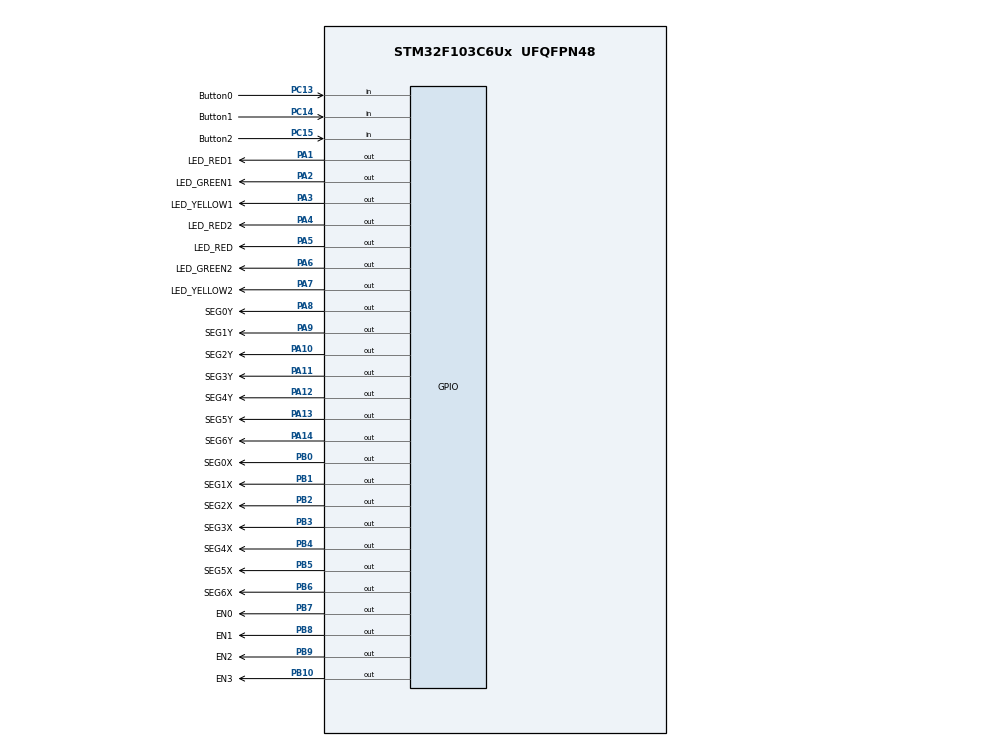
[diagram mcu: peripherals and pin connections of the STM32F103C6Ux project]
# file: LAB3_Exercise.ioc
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Mcu.Family=STM32F1
Mcu.Name=STM32F103C6Ux
Mcu.Package=UFQFPN48
NVIC.PriorityGroup=NVIC_PRIORITYGROUP_4
NVIC.TIM2_IRQn=true\:0\:0\:false\:false\:true\:true\:true
PA1.GPIO_Label=LED_RED1
PA1.Signal=GPIO_Output
PA10.GPIO_Label=SEG2Y
PA10.Signal=GPIO_Output
PA11.GPIO_Label=SEG3Y
PA11.Signal=GPIO_Output
PA12.GPIO_Label=SEG4Y
PA12.Signal=GPIO_Output
PA13.GPIO_Label=SEG5Y
PA13.Signal=GPIO_Output
PA14.GPIO_Label=SEG6Y
PA14.Signal=GPIO_Output
PA2.GPIO_Label=LED_GREEN1
PA2.Signal=GPIO_Output
PA3.GPIO_Label=LED_YELLOW1
PA3.Signal=GPIO_Output
PA4.GPIO_Label=LED_RED2
PA4.Signal=GPIO_Output
PA5.GPIO_Label=LED_RED
PA5.Signal=GPIO_Output
PA6.GPIO_Label=LED_GREEN2
PA6.Signal=GPIO_Output
PA7.GPIO_Label=LED_YELLOW2
PA7.Signal=GPIO_Output
PA8.GPIO_Label=SEG0Y
PA8.Signal=GPIO_Output
PA9.GPIO_Label=SEG1Y
PA9.Signal=GPIO_Output
PB0.GPIO_Label=SEG0X
PB0.Signal=GPIO_Output
PB1.GPIO_Label=SEG1X
PB1.Signal=GPIO_Output
PB10.GPIO_Label=EN3
PB10.Signal=GPIO_Output
PB2.GPIO_Label=SEG2X
PB2.Signal=GPIO_Output
PB3.GPIO_Label=SEG3X
PB3.Signal=GPIO_Output
PB4.GPIO_Label=SEG4X
PB4.Signal=GPIO_Output
PB5.GPIO_Label=SEG5X
PB5.Signal=GPIO_Output
PB6.GPIO_Label=SEG6X
PB6.Signal=GPIO_Output
PB7.GPIO_Label=EN0
PB7.Signal=GPIO_Output
PB8.GPIO_Label=EN1
PB8.Signal=GPIO_Output
PB9.GPIO_Label=EN2
PB9.Signal=GPIO_Output
PC13-TAMPER-RTC.GPIO_Label=Button0
PC13-TAMPER-RTC.GPIO_PuPd=GPIO_PULLUP
PC13-TAMPER-RTC.Signal=GPIO_Input
PC14-OSC32_IN.GPIO_Label=Button1
PC14-OSC32_IN.GPIO_PuPd=GPIO_PULLUP
PC14-OSC32_IN.Signal=GPIO_Input
PC15-OSC32_OUT.GPIO_Label=Button2
PC15-OSC32_OUT.GPIO_PuPd=GPIO_PULLUP
PC15-OSC32_OUT.Signal=GPIO_Input
ProjectManager.HeapSize=0x200
ProjectManager.StackSize=0x400
ProjectManager.TargetToolchain=STM32CubeIDE
RCC.APB1Freq_Value=8000000
RCC.APB2Freq_Value=8000000
TIM2.Period=9
TIM2.Prescaler=7999
VP_SYS_VS_ND.Mode=No_Debug
VP_TIM2_VS_ClockSourceINT.Mode=Internal
board=custom

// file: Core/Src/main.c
/* USER CODE BEGIN Header */
/**
  ******************************************************************************
  * @file           : main.c
  * @brief          : Main program body
  ******************************************************************************
  * @attention
  *
  * <h2><center>&copy; Copyright (c) 2024 STMicroelectronics.
  * All rights reserved.</center></h2>
  *
  * This software component is licensed by ST under BSD 3-Clause license,
  * the "License"; You may not use this file except in compliance with the
  * License. You may obtain a copy of the License at:
  *                        opensource.org/licenses/BSD-3-Clause
  *
  ******************************************************************************
  */
/* USER CODE END Header */
#include "main.h"

/* USER CODE BEGIN Includes */
#include "software_timer.h"
#include "button.h"
#include "fsm_automatic.h"
#include "fsm_manual.h"
#include "fsm_setting.h"
/* USER CODE END Includes */

TIM_HandleTypeDef htim2;

void SystemClock_Config(void);
static void MX_GPIO_Init(void);
static void MX_TIM2_Init(void);

/* USER CODE BEGIN 0 */
void ledPA5(){
    if(HAL_GPIO_ReadPin(Button1_GPIO_Port,Button1_Pin)== GPIO_PIN_RESET){
    	HAL_GPIO_TogglePin(LED_RED_GPIO_Port, LED_RED_Pin);
    }
}
/* USER CODE END 0 */

int main(void)
{

  /* MCU Configuration--------------------------------------------------------*/

  /* Reset of all peripherals, Initializes the Flash interface and the Systick. */
  HAL_Init();

  /* Configure the system clock */
  SystemClock_Config();

  /* Initialize all configured peripherals */
  MX_GPIO_Init();
  MX_TIM2_Init();
  /* USER CODE BEGIN 2 */
  HAL_TIM_Base_Start_IT (& htim2 ) ;
  /* USER CODE END 2 */

  /* Infinite loop */
  /* USER CODE BEGIN WHILE */
  status = INIT;
  while (1)
  {
//	  if(isButtonPressed(0)==1){
//		  HAL_GPIO_TogglePin(LED_RED_GPIO_Port, LED_RED_Pin);
//	  }
	  fsm_automatic_run();
	  fsm_manual_run();
	  fsm_setting_run();
    /* USER CODE END WHILE */

  }
}

void SystemClock_Config(void)
{
  RCC_OscInitTypeDef RCC_OscInitStruct = {0};
  RCC_ClkInitTypeDef RCC_ClkInitStruct = {0};

  /** Initializes the RCC Oscillators according to the specified parameters
  * in the RCC_OscInitTypeDef structure.
  */
  RCC_OscInitStruct.OscillatorType = RCC_OSCILLATORTYPE_HSI;
  RCC_OscInitStruct.HSIState = RCC_HSI_ON;
  RCC_OscInitStruct.HSICalibrationValue = RCC_HSICALIBRATION_DEFAULT;
  RCC_OscInitStruct.PLL.PLLState = RCC_PLL_NONE;
  if (HAL_RCC_OscConfig(&RCC_OscInitStruct) != HAL_OK)
  {
    Error_Handler();
  }
  /** Initializes the CPU, AHB and APB buses clocks
  */
  RCC_ClkInitStruct.ClockType = RCC_CLOCKTYPE_HCLK|RCC_CLOCKTYPE_SYSCLK
                              |RCC_CLOCKTYPE_PCLK1|RCC_CLOCKTYPE_PCLK2;
  RCC_ClkInitStruct.SYSCLKSource = RCC_SYSCLKSOURCE_HSI;
  RCC_ClkInitStruct.AHBCLKDivider = RCC_SYSCLK_DIV1;
  RCC_ClkInitStruct.APB1CLKDivider = RCC_HCLK_DIV1;
  RCC_ClkInitStruct.APB2CLKDivider = RCC_HCLK_DIV1;

  if (HAL_RCC_ClockConfig(&RCC_ClkInitStruct, FLASH_LATENCY_0) != HAL_OK)
  {
    Error_Handler();
  }
}

static void MX_TIM2_Init(void)
{

  TIM_ClockConfigTypeDef sClockSourceConfig = {0};
  TIM_MasterConfigTypeDef sMasterConfig = {0};

  htim2.Instance = TIM2;
  htim2.Init.Prescaler = 7999;
  htim2.Init.CounterMode = TIM_COUNTERMODE_UP;
  htim2.Init.Period = 9;
  htim2.Init.ClockDivision = TIM_CLOCKDIVISION_DIV1;
  htim2.Init.AutoReloadPreload = TIM_AUTORELOAD_PRELOAD_DISABLE;
  if (HAL_TIM_Base_Init(&htim2) != HAL_OK)
  {
    Error_Handler();
  }
  sClockSourceConfig.ClockSource = TIM_CLOCKSOURCE_INTERNAL;
  if (HAL_TIM_ConfigClockSource(&htim2, &sClockSourceConfig) != HAL_OK)
  {
    Error_Handler();
  }
  sMasterConfig.MasterOutputTrigger = TIM_TRGO_RESET;
  sMasterConfig.MasterSlaveMode = TIM_MASTERSLAVEMODE_DISABLE;
  if (HAL_TIMEx_MasterConfigSynchronization(&htim2, &sMasterConfig) != HAL_OK)
  {
    Error_Handler();
  }

}

static void MX_GPIO_Init(void)
{
  GPIO_InitTypeDef GPIO_InitStruct = {0};

  /* GPIO Ports Clock Enable */
  __HAL_RCC_GPIOC_CLK_ENABLE();
  __HAL_RCC_GPIOA_CLK_ENABLE();
  __HAL_RCC_GPIOB_CLK_ENABLE();

  /*Configure GPIO pin Output Level */
  HAL_GPIO_WritePin(GPIOA, LED_RED1_Pin|LED_GREEN1_Pin|LED_YELLOW1_Pin|LED_RED2_Pin
                          |LED_RED_Pin|LED_GREEN2_Pin|LED_YELLOW2_Pin|SEG0Y_Pin
                          |SEG1Y_Pin|SEG2Y_Pin|SEG3Y_Pin|SEG4Y_Pin
                          |SEG5Y_Pin|SEG6Y_Pin, GPIO_PIN_RESET);

  /*Configure GPIO pin Output Level */
  HAL_GPIO_WritePin(GPIOB, SEG0X_Pin|SEG1X_Pin|SEG2X_Pin|EN3_Pin
                          |SEG3X_Pin|SEG4X_Pin|SEG5X_Pin|SEG6X_Pin
                          |EN0_Pin|EN1_Pin|EN2_Pin, GPIO_PIN_RESET);

  /*Configure GPIO pins : Button0_Pin Button1_Pin Button2_Pin */
  GPIO_InitStruct.Pin = Button0_Pin|Button1_Pin|Button2_Pin;
  GPIO_InitStruct.Mode = GPIO_MODE_INPUT;
  GPIO_InitStruct.Pull = GPIO_PULLUP;
  HAL_GPIO_Init(GPIOC, &GPIO_InitStruct);

  /*Configure GPIO pins : LED_RED1_Pin LED_GREEN1_Pin LED_YELLOW1_Pin LED_RED2_Pin
                           LED_RED_Pin LED_GREEN2_Pin LED_YELLOW2_Pin SEG0Y_Pin
                           SEG1Y_Pin SEG2Y_Pin SEG3Y_Pin SEG4Y_Pin
                           SEG5Y_Pin SEG6Y_Pin */
  GPIO_InitStruct.Pin = LED_RED1_Pin|LED_GREEN1_Pin|LED_YELLOW1_Pin|LED_RED2_Pin
                          |LED_RED_Pin|LED_GREEN2_Pin|LED_YELLOW2_Pin|SEG0Y_Pin
                          |SEG1Y_Pin|SEG2Y_Pin|SEG3Y_Pin|SEG4Y_Pin
                          |SEG5Y_Pin|SEG6Y_Pin;
  GPIO_InitStruct.Mode = GPIO_MODE_OUTPUT_PP;
  GPIO_InitStruct.Pull = GPIO_NOPULL;
  GPIO_InitStruct.Speed = GPIO_SPEED_FREQ_LOW;
  HAL_GPIO_Init(GPIOA, &GPIO_InitStruct);

  /*Configure GPIO pins : SEG0X_Pin SEG1X_Pin SEG2X_Pin EN3_Pin
                           SEG3X_Pin SEG4X_Pin SEG5X_Pin SEG6X_Pin
                           EN0_Pin EN1_Pin EN2_Pin */
  GPIO_InitStruct.Pin = SEG0X_Pin|SEG1X_Pin|SEG2X_Pin|EN3_Pin
                          |SEG3X_Pin|SEG4X_Pin|SEG5X_Pin|SEG6X_Pin
                          |EN0_Pin|EN1_Pin|EN2_Pin;
  GPIO_InitStruct.Mode = GPIO_MODE_OUTPUT_PP;
  GPIO_InitStruct.Pull = GPIO_NOPULL;
  GPIO_InitStruct.Speed = GPIO_SPEED_FREQ_LOW;
  HAL_GPIO_Init(GPIOB, &GPIO_InitStruct);

}

/* USER CODE BEGIN 4 */
void HAL_TIM_PeriodElapsedCallback ( TIM_HandleTypeDef * htim ){
	    timerRun();
		getKeyInput();
 }
/* USER CODE END 4 */

void Error_Handler(void)
{
  __disable_irq();
  while (1)
  {
  }
}

/************************ (C) COPYRIGHT STMicroelectronics *****END OF FILE****/
